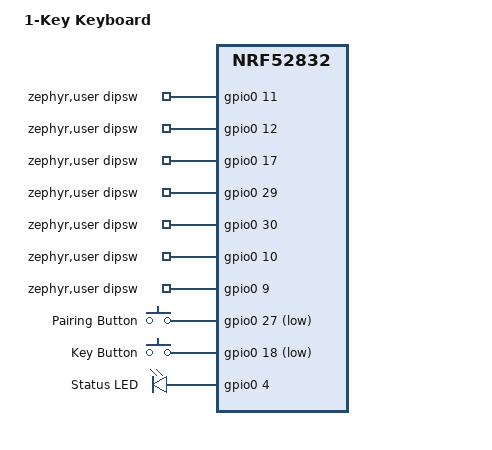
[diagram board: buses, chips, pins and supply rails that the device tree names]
// This file is SmallKB.dts, board DTS for 1-Key Simple BLE Keyboard

/dts-v1/;
#include <nordic/nrf52832_qfaa.dtsi>
#include "SmallKB-pinctrl.dtsi"

/ {
	model = "1-Key Keyboard";
	compatible = "wdee,custom-board-name";

	chosen {
		zephyr,sram = &sram0;
		zephyr,flash = &flash0;
		zephyr,code-partition = &slot0_partition;
	};

	zephyr,user {
		// DISPW 読み取り用のGPIOピンをここで定義する
		dipsw-gpios =
			<&gpio0 11 (GPIO_ACTIVE_HIGH)>,
			<&gpio0 12 (GPIO_ACTIVE_HIGH)>,
			<&gpio0 17 (GPIO_ACTIVE_HIGH)>,
			<&gpio0 29 (GPIO_ACTIVE_HIGH)>,
			<&gpio0 30 (GPIO_ACTIVE_HIGH)>,
			<&gpio0 10 (GPIO_ACTIVE_HIGH)>,
			<&gpio0 9  (GPIO_ACTIVE_HIGH)>;
	};


	gpio_keys_pairing_button {
		compatible = "gpio-keys";
		pairing_button: pairing_button {
			gpios = <&gpio0 27 (GPIO_ACTIVE_LOW|GPIO_PULL_UP)>;
			label = "Pairing Button";
		};
	};

	
	gpio_keys_key_button {
		compatible = "gpio-keys";
		key_button: key_button {
			gpios = <&gpio0 18 (GPIO_ACTIVE_LOW|GPIO_PULL_UP)>;
			label = "Key Button";
		};
	};

    leds {
        compatible = "gpio-leds";
        led0: led0 {
            gpios = <&gpio0 4 (GPIO_ACTIVE_HIGH)>;
            label = "Status LED";
        };
    };
};

&flash0 {
	partitions {
		compatible = "fixed-partitions";
		#address-cells = <1>;
		#size-cells = <1>;

		boot_partition: partition@0 {
			label = "mcuboot";
			reg = <0x00000000 DT_SIZE_K(48)>;
		};

		slot0_partition: partition@c000 {
			label = "image-0";
			reg = <0x0000c000 DT_SIZE_K(220)>;
		};

		slot1_partition: partition@43000 {
			label = "image-1";
			reg = <0x00043000 DT_SIZE_K(220)>;
		};

		storage_partition: partition@7a000 {
			label = "storage";
			reg = <0x0007a000 DT_SIZE_K(24)>;
		};
	};
};


&uart0 {
    status = "disabled";
};

&gpio0 {
    status = "okay";
};

&gpiote {
    status = "okay";
};
// End of SmallKB.dts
